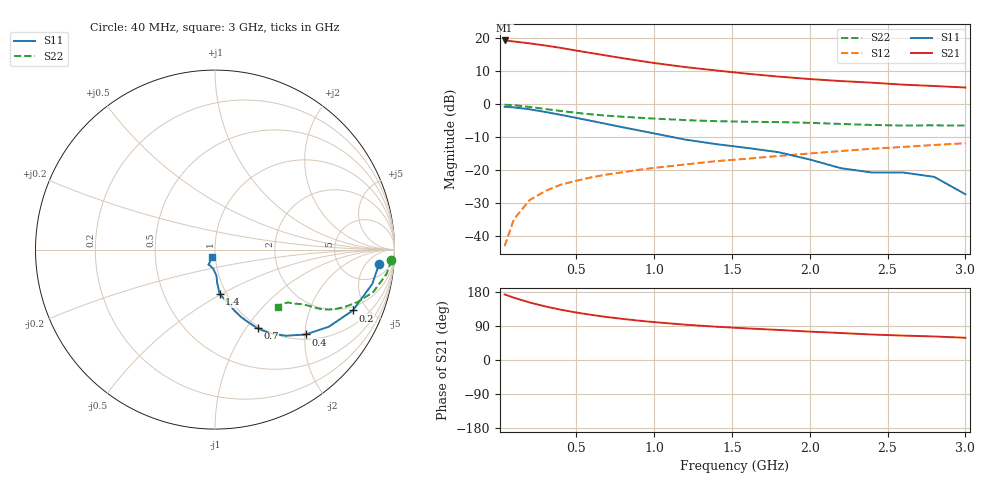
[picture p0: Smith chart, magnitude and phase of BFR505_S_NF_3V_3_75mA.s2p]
! Filename:  BFR505D.S2P  Version:  3.0
! Philips part #: BFR505  Date: Feb 1992
! Bias condition: Vce=3V, Ic=3.75mA
#  MHz  S  MA  R  50
! Freq  S11  S21  S12  S22  !GUM [dB]
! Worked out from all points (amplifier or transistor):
!   21 points, 40 MHz to 3 GHz, reference 50 ohm
!   highest |S21| = 19.4 dB at 40 MHz (marker M1)
!   |S21| within 3 dB of that: start of sweep to 491.5 MHz
!   unconditionally stable (mu >= 1): 1.644 GHz to end of sweep
!   at 300 MHz: K = 0.38, MSG = 22.1 dB, |S12| = -26.4 dB
!   at 1 GHz: K = 0.84, MSG = 15.9 dB, |S12| = -19.3 dB
!   at 3 GHz: K = 1.07, MAG = 6.9 dB, |S12| = -11.8 dB
!   lowest NFmin = 1.40 dB at 900 MHz
!   S11 on the Smith chart (normalised r, x): 40 MHz: 11, -12; 200 MHz: 1.75, -4.02; 400 MHz: 1.11, -2.02; 700 MHz: 0.97, -1.13; 1.4 GHz: 0.93, -0.49; 3 GHz: 0.96, -0.07
40  0.918 -5.0  9.316 172.9  0.007 87.3  0.985 -3.4
100  0.897 -12.3  8.982 164.3  0.018 81.8  0.966 -8.0
200  0.84 -23.8  8.42 151.9  0.035 75.5  0.913 -15.0
300  0.766 -34.1  7.818 141.5  0.048 71.1  0.848 -20.1
400  0.692 -43.1  7.188 132.8  0.06 67.9  0.791 -23.8
500  0.622 -50.5  6.543 125.3  0.069 66.5  0.743 -26.6
600  0.558 -56.7  5.983 118.9  0.078 65.5  0.702 -28.4
700  0.499 -61.6  5.467 113.2  0.086 65.3  0.67 -29.5
800  0.447 -65.3  5.004 108.4  0.093 65.1  0.646 -30.1
900  0.402 -68.9  4.597 103.9  0.101 65.2  0.626 -30.6
1000  0.361 -72.0  4.237 100.0  0.108 65.2  0.606 -31.0
1200  0.291 -78.0  3.67 93.2  0.122 65.6  0.575 -32.0
1400  0.248 -84.1  3.261 87.8  0.137 66.0  0.554 -33.1
1600  0.217 -85.0  2.908 83.3  0.149 66.5  0.543 -33.7
1800  0.187 -86.2  2.634 79.3  0.164 67.2  0.536 -34.5
2000  0.145 -86.9  2.415 74.9  0.179 66.9  0.523 -34.8
2200  0.107 -95.3  2.252 71.2  0.195 66.6  0.503 -35.9
2400  0.092 -108.8  2.127 67.2  0.211 66.1  0.485 -38.2
2600  0.092 -114.0  1.986 64.4  0.225 66.0  0.476 -40.8
2800  0.079 -112.4  1.895 62.1  0.241 66.2  0.479 -42.3
3000  0.043 -116.2  1.797 58.7  0.256 65.5  0.474 -42.6
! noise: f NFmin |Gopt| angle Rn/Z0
900  1.4  0.554  17  0.62
2000  2  0.402  47  0.49
